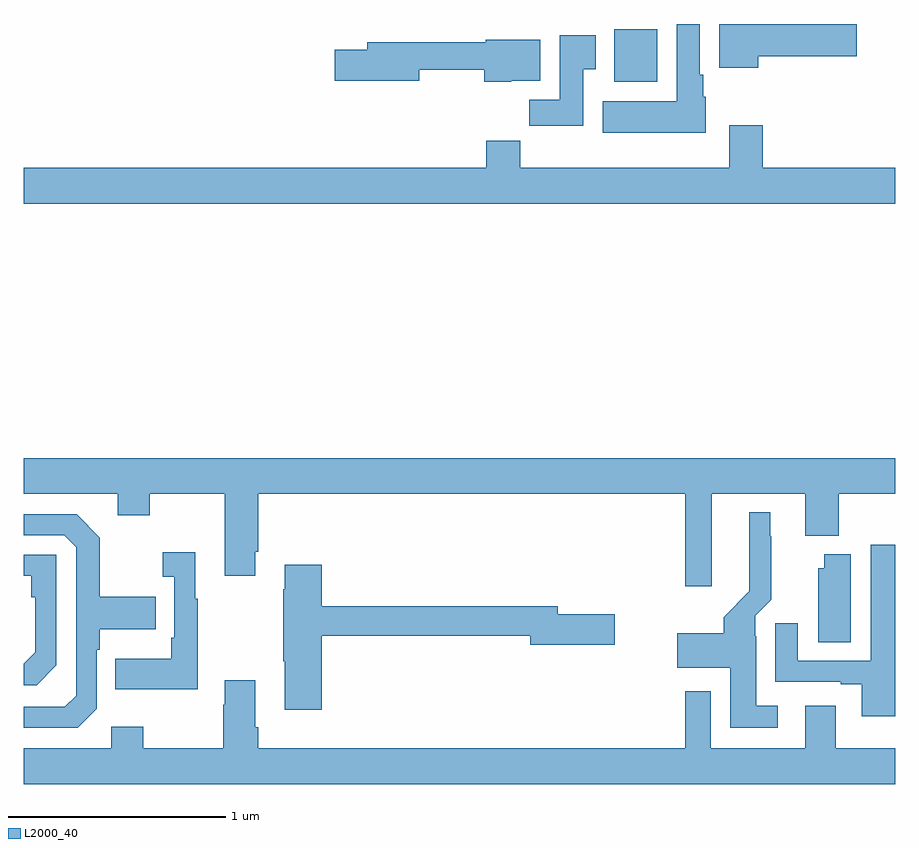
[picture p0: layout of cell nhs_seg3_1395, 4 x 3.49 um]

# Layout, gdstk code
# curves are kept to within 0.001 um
import gdstk
lib = gdstk.Library(unit=1e-6, precision=1e-09)
def R(c, l, rs):  # rectangles x0, y0, x1, y1
    for r in rs: c.add(gdstk.rectangle(r[:2], r[2:], *l))
def P(c, l, *ps):  # polygons
    for p in ps: c.add(gdstk.Polygon(p, *l))
L2000_40 = (2000, 40)

nhs_seg3_1395 = lib.new_cell('nhs_seg3_1395')
R(nhs_seg3_1395, L2000_40, [(185.711,708.134,185.908,708.376)])
P(nhs_seg3_1395, L2000_40, [(186.13,708.066),(186.118,708.066),(186.118,708.166),(186.103,708.166),(186.103,708.4),(185.996,708.4),(185.996,708.046),(185.657,708.046),(185.657,707.9),(186.13,707.9)],
  [(186.37,708.251),(186.823,708.251),(186.823,708.398),(186.37,708.398),(186.37,708.4),(186.191,708.4),(186.191,708.2),(186.37,708.2)],
  [(185.569,708.193),(185.626,708.193),(185.626,708.349),(185.459,708.349),(185.459,708.052),(185.32,708.052),(185.32,707.934),(185.569,707.934)],
  [(185.238,708.14),(185.371,708.14),(185.371,708.328),(185.12,708.328),(185.12,708.317),(184.577,708.317),(184.577,708.281),(184.428,708.281),(184.428,708.139),(184.816,708.139),(184.816,708.189),(185.113,708.189),(185.113,708.134),(185.238,708.134)],
  [(187,707.74),(186.392,707.74),(186.392,707.935),(186.239,707.935),(186.239,707.74),(185.279,707.74),(185.279,707.864),(185.123,707.864),(185.123,707.74),(183,707.74),(183,707.576),(187,707.576)],
  [(186.157,706.244),(186.587,706.244),(186.587,706.052),(186.74,706.052),(186.74,706.244),(187,706.244),(187,706.408),(183,706.408),(183,706.244),(183.431,706.244),(183.431,706.145),(183.579,706.145),(183.579,706.244),(183.923,706.244),(183.923,705.867),(184.063,705.867),(184.063,705.979),(184.076,705.979),(184.076,706.244),(186.035,706.244),(186.035,705.819),(186.157,705.819)],
  [(186.46,705.271),(186.361,705.271),(186.361,705.59),(186.357,705.59),(186.357,705.684),(186.431,705.758),(186.431,706.049),(186.427,706.049),(186.427,706.159),(186.329,706.159),(186.33,705.796),(186.212,705.678),(186.212,705.604),(186,705.604),(186,705.446),(186.242,705.446),(186.242,705.17),(186.46,705.17)],
  [(183.336,705.258),(183.336,705.527),(183.349,705.527),(183.349,705.623),(183.605,705.623),(183.605,705.771),(183.349,705.771),(183.349,706.043),(183.243,706.149),(183,706.149),(183,706.053),(183.186,706.053),(183.24,705.999),(183.24,705.318),(183.189,705.267),(183,705.267),(183,705.171),(183.249,705.171)],
  [(187,706.009),(186.887,706.009),(186.887,705.477),(186.553,705.477),(186.553,705.649),(186.449,705.649),(186.449,705.381),(186.749,705.381),(186.749,705.369),(186.845,705.369),(186.845,705.222),(187,705.222)],
  [(183.799,705.763),(183.787,705.763),(183.787,705.976),(183.639,705.976),(183.639,705.863),(183.69,705.863),(183.69,705.583),(183.678,705.583),(183.678,705.487),(183.421,705.487),(183.421,705.347),(183.799,705.347)],
  [(186.796,705.967),(186.674,705.967),(186.674,705.903),(186.647,705.903),(186.647,705.562),(186.796,705.562)],
  [(183.15,705.456),(183.15,705.963),(183,705.963),(183,705.867),(183.034,705.867),(183.034,705.77),(183.054,705.77),(183.054,705.516),(183.001,705.463),(183,705.463),(183,705.366),(183.06,705.366)],
  [(184.367,705.592),(185.324,705.592),(185.324,705.55),(185.713,705.55),(185.713,705.692),(185.452,705.692),(185.452,705.728),(184.367,705.728),(184.367,705.919),(184.199,705.919),(184.199,705.806),(184.192,705.806),(184.192,705.475),(184.199,705.475),(184.199,705.252),(184.367,705.252)],
  [(187,705.076),(186.727,705.076),(186.727,705.271),(186.587,705.271),(186.587,705.076),(186.153,705.076),(186.153,705.337),(186.037,705.337),(186.037,705.076),(184.076,705.076),(184.076,705.172),(184.063,705.172),(184.063,705.388),(183.923,705.388),(183.923,705.275),(183.916,705.275),(183.916,705.076),(183.549,705.076),(183.549,705.175),(183.402,705.175),(183.402,705.076),(183,705.076),(183,704.912),(187,704.912)])

lib.write_gds('nhs_seg3_1395.gds')
